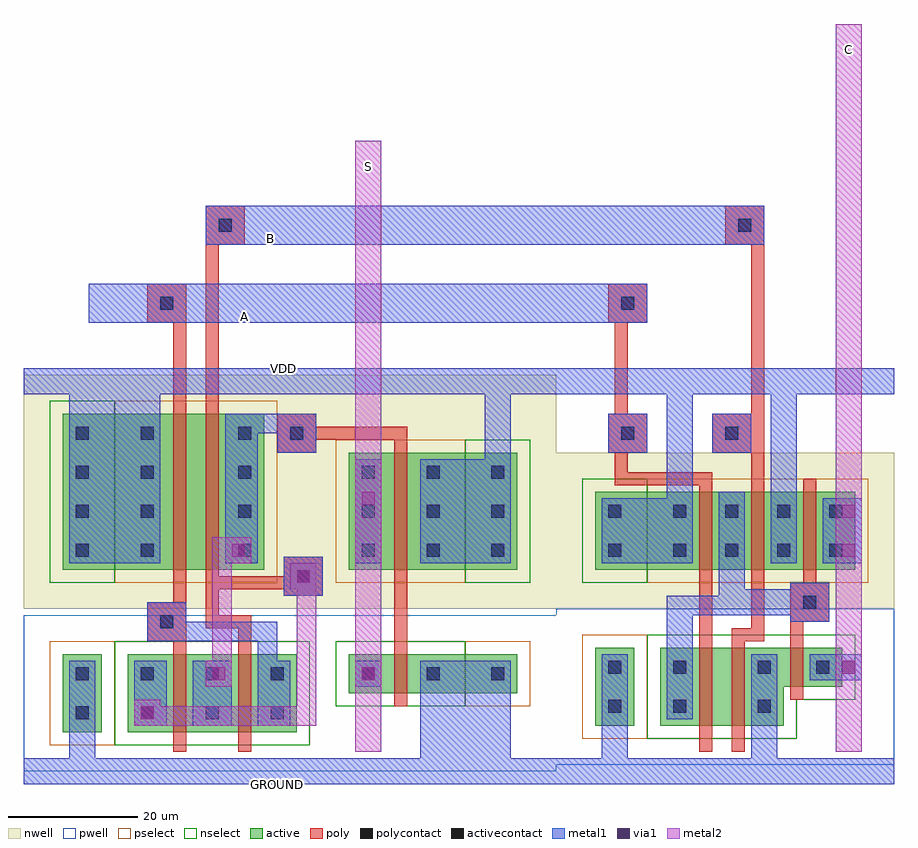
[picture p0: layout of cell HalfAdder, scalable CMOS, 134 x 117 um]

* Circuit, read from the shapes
.subckt HalfAdder A B C GROUND S VDD
M1 n1 A B GROUND nfet w=12u l=2u
M2 A B n1 GROUND nfet w=12u l=2u
M3 GROUND n1 S GROUND nfet w=6u l=2u
M4 n2 A n3 GROUND nfet w=12u l=2u
M5 GROUND B n2 GROUND nfet w=12u l=2u
M6 C n3 GROUND GROUND nfet w=6u l=2u
M7 n4 A VDD VDD pfet w=24u l=2u
M8 n1 B n4 VDD pfet w=24u l=2u
M9 VDD n1 S VDD pfet w=18u l=2u
M10 n3 A VDD VDD pfet w=12u l=2u
M11 VDD B n3 VDD pfet w=12u l=2u
M12 C n3 VDD VDD pfet w=12u l=2u
.ends

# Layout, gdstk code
import gdstk
lib = gdstk.Library(unit=1e-6, precision=1e-09)
def R(c, l, rs):  # rectangles x0, y0, x1, y1
    for r in rs: c.add(gdstk.rectangle(r[:2], r[2:], *l))
def A(c, l, x, y, w, h, nx, ny, dx, dy):  # array of equal rectangles
    R(c, l, [(x+i*dx, y+j*dy, x+i*dx+w, y+j*dy+h) for i in range(nx) for j in range(ny)])
def P(c, l, *ps):  # polygons
    for p in ps: c.add(gdstk.Polygon(p, *l))
pwell = (41, 0)
nwell = (42, 0)
active = (43, 0)
pselect = (44, 0)
nselect = (45, 0)
poly = (46, 0)
polycontact = (47, 0)
activecontact = (48, 0)
metal1 = (49, 0)
via1 = (50, 0)
metal2 = (51, 0)

c_153and = lib.new_cell('153AND')
R(c_153and, pwell, [(-56,-17,-4,7)])
R(c_153and, nwell, [(-56,7,-4,31)])
R(c_153and, active, [(-50,-11,-44,1), (-50,13,-10,25)])
P(c_153and, active, [(-40,-11),(-21,-11),(-21,-5),(-12,-5),(-12,1),(-40,1)])
R(c_153and, pselect, [(-52,-13,-42,3), (-42,11,-8,27)])
R(c_153and, nselect, [(-52,11,-42,27)])
P(c_153and, nselect, [(-42,-13),(-19,-13),(-19,-7),(-10,-7),(-10,3),(-42,3)])
P(c_153and, poly, [(-20,-7),(-18,-7),(-18,5),(-14,5),(-14,11),(-16,11),(-16,27),(-18,27),(-18,11),(-20,11)],
  [(-48,31),(-47,31),(-47,26),(-34,26),(-34,-15),(-32,-15),(-32,28),(-45,28),(-45,31),(-42,31),(-42,37),(-45,37),(-45,39),(-47,39),(-47,37),(-48,37)],
  [(-32,31),(-26,31),(-26,4),(-29,4),(-29,-15),(-27,-15),(-27,2),(-24,2),(-24,39),(-26,39),(-26,37),(-32,37)])
R(c_153and, polycontact, [(-18,7,-16,9), (-46,33,-44,35), (-30,33,-28,35)])
A(c_153and, activecontact, -38, 15, 2, 2, 4, 2, 8, 6)
R(c_153and, activecontact, [(-48,-9,-46,-7), (-38,-9,-36,-7), (-25,-9,-23,-7), (-48,-3,-46,-1), (-38,-3,-36,-1), (-25,-3,-23,-1), (-16,-3,-14,-1), (-48,15,-46,17), (-48,21,-46,23)])
R(c_153and, metal1, [(-17,-4,-9,0), (-15,14,-9,24), (-48,31,-42,37), (-32,31,-26,37)])
P(c_153and, metal1, [(-56,40),(-39,40),(-39,24),(-49,24),(-49,14),(-35,14),(-35,40),(-23,40),(-23,14),(-19,14),(-19,40),(-4,40),(-4,43),(-56,43)],
  [(-56,-19),(-4,-19),(-4,-16),(-22,-16),(-22,0),(-26,0),(-26,-16),(-45,-16),(-45,0),(-49,0),(-49,-16),(-56,-16)],
  [(-39,-10),(-35,-10),(-35,6),(-20,6),(-20,5),(-14,5),(-14,11),(-20,11),(-20,10),(-27,10),(-27,25),(-31,25),(-31,9),(-39,9)])
R(c_153and, via1, [(-12,-3,-10,-1), (-12,15,-10,17), (-12,21,-10,23)])
R(c_153and, metal2, [(-13,-15,-9,39)])
c_153and.add(gdstk.Label('B', (-28,-13), layer=46, texttype=0))
c_153and.add(gdstk.Label('OUT', (-12,-13), layer=46, texttype=0))
c_153and.add(gdstk.Label('A', (-34,-13), layer=46, texttype=0))
c_153and.add(gdstk.Label('VDD', (-37,41), layer=2, texttype=0))
c_153and.add(gdstk.Label('A', (-43,35), layer=2, texttype=0))
c_153and.add(gdstk.Label('B', (-27,35), layer=2, texttype=0))
c_153and.add(gdstk.Label('GROUND', (-40,-19), layer=2, texttype=0))
c_153and.add(gdstk.Label('OUT', (-12,34), layer=3, texttype=0))

c_153xor = lib.new_cell('153XOR')
R(c_153xor, pwell, [(-36,-45,46,-21)])
R(c_153xor, nwell, [(-36,-20,46,16)])
R(c_153xor, active, [(-30,-39,-24,-27), (-20,-39,6,-27), (14,-33,40,-27), (-30,-14,1,10), (14,-14,40,4)])
R(c_153xor, pselect, [(-32,-41,-22,-25), (32,-35,42,-25), (-22,-16,3,12), (12,-16,32,6)])
R(c_153xor, nselect, [(-22,-41,8,-25), (12,-35,32,-25), (-32,-16,-22,12), (32,-16,42,6)])
P(c_153xor, poly, [(-8,-23),(-3,-23),(-3,-42),(-1,-42),(-1,-21),(-6,-21),(-6,-17),(4,-17),(4,-18),(10,-18),(10,-12),(4,-12),(4,-15),(-6,-15),(-6,12),(-8,12)],
  [(3,4),(9,4),(9,6),(21,6),(21,-35),(23,-35),(23,8),(9,8),(9,10),(3,10)],
  [(-17,-25),(-13,-25),(-13,-42),(-11,-42),(-11,12),(-13,12),(-13,-19),(-17,-19)])
R(c_153xor, polycontact, [(-15,-23,-13,-21), (6,-16,8,-14), (5,6,7,8)])
A(c_153xor, activecontact, -28, -37, 2, 2, 4, 2, 10, 6)
A(c_153xor, activecontact, 16, -31, 2, 2, 3, 2, 10, 19)
A(c_153xor, activecontact, -28, -12, 2, 2, 1, 4, 0, 6)
A(c_153xor, activecontact, -18, -12, 2, 2, 1, 4, 0, 6)
A(c_153xor, activecontact, -3, -12, 2, 2, 1, 4, 0, 6)
A(c_153xor, activecontact, 16, -6, 2, 2, 3, 2, 10, 6)
R(c_153xor, metal1, [(-19,-38,-14,-28), (-10,-38,-4,-28), (15,-32,19,-28), (4,-18,10,-12), (15,-13,19,3)])
P(c_153xor, metal1, [(-36,13),(-29,13),(-29,-13),(-15,-13),(-15,13),(35,13),(35,3),(25,3),(25,-13),(39,-13),(39,13),(46,13),(46,16),(-36,16)],
  [(-17,-25),(0,-25),(0,-38),(5,-38),(5,-28),(3,-28),(3,-22),(-11,-22),(-11,-19),(-17,-19)],
  [(-36,-46),(46,-46),(46,-43),(39,-43),(39,-28),(25,-28),(25,-43),(-25,-43),(-25,-28),(-29,-28),(-29,-43),(-36,-43)],
  [(-5,-13),(0,-13),(0,7),(3,7),(3,4),(9,4),(9,10),(-5,10)])
R(c_153xor, via1, [(-18,-37,-16,-35), (-7,-31,-5,-29), (16,-31,18,-29), (6,-16,8,-14), (-4,-12,-2,-10), (16,-4,18,-2)])
R(c_153xor, metal2, [(15,-42,19,12)])
P(c_153xor, metal2, [(-19,-38),(9,-38),(9,-13),(5,-13),(5,-17),(6,-17),(6,-35),(-15,-35),(-15,-34),(-19,-34)],
  [(-8,-32),(-4,-32),(-4,-13),(-1,-13),(-1,-9),(-7,-9),(-7,-28),(-8,-28)])
c_153xor.add(gdstk.Label('B', (7,-23), layer=3, texttype=0))
c_153xor.add(gdstk.Label('XOR', (17,-41), layer=3, texttype=0))
c_153xor.add(gdstk.Label('XOR', (17,10), layer=42, texttype=0))
c_153xor.add(gdstk.Label('VDD', (4,14), layer=2, texttype=0))
c_153xor.add(gdstk.Label('GROUND', (3,-45), layer=2, texttype=0))
c_153xor.add(gdstk.Label('A', (-10,-24), layer=2, texttype=0))
c_153xor.add(gdstk.Label('A', (-13,-42), layer=49, texttype=0))
c_153xor.add(gdstk.Label('B', (-3,-42), layer=49, texttype=0))
c_153xor.add(gdstk.Label('A', (-13,11), layer=49, texttype=0))
c_153xor.add(gdstk.Label('B', (-8,11), layer=49, texttype=0))

halfadder = lib.new_cell('HalfAdder')
P(halfadder, poly, [(-1,40),(3,40),(3,28),(5,28),(5,46),(-1,46)],
  [(70,40),(71,40),(71,28),(73,28),(73,40),(76,40),(76,46),(70,46)],
  [(8,28),(10,28),(10,52),(14,52),(14,58),(8,58)],
  [(88,52),(92,52),(92,28),(94,28),(94,58),(88,58)])
R(halfadder, polycontact, [(1,42,3,44), (72,42,74,44), (10,54,12,56), (90,54,92,56)])
R(halfadder, metal1, [(-20,-31,114,-30), (-20,32,114,33), (-10,40,76,46), (8,52,94,58)])
R(halfadder, metal2, [(31,28,35,68), (105,28,109,86)])
halfadder.add(gdstk.Reference(c_153and, (118,-11)))
halfadder.add(gdstk.Reference(c_153xor, (16,16)))
halfadder.add(gdstk.Label('A', (14,41), layer=2, texttype=0))
halfadder.add(gdstk.Label('B', (18,53), layer=2, texttype=0))
halfadder.add(gdstk.Label('VDD', (20,33), layer=2, texttype=0))
halfadder.add(gdstk.Label('GROUND', (19,-31), layer=2, texttype=0))
halfadder.add(gdstk.Label('S', (33,64), layer=3, texttype=0))
halfadder.add(gdstk.Label('C', (107,82), layer=3, texttype=0))

lib.write_gds('HalfAdder.gds')
